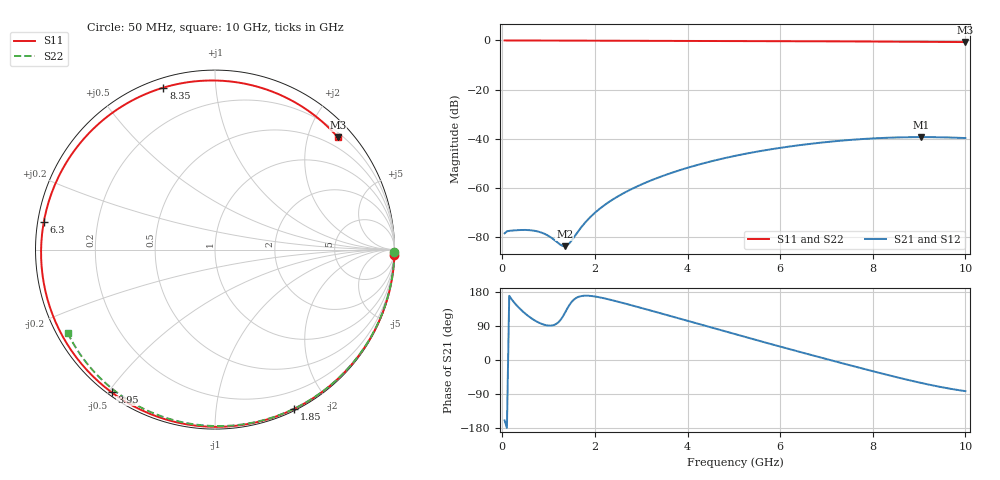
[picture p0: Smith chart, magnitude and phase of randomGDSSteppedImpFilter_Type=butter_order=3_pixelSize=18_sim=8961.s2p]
! freq	dB(S11)	phase(S11)	dB(S12)	phase(S12)
!  dB(S21)	phase(S21)	dB(S22)	phase(S22)
!S-par simulation data
#  GHz  S  DB  R 50
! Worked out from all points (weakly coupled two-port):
!   200 points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, 50 MHz to 10 GHz, reference 50 ohm
!   highest |S21| = -39.33 dB at 9.05 GHz (marker M1); lowest = -83.7 dB at 1.35 GHz (marker M2)
!   lowest |S11| = -0.7 dB at 10 GHz (marker M3), VSWR 26.44, Z = 14.3 + j128 ohm
!   |S11| at or under -10 dB: nowhere
!   |S22| runs from -0.5 to 0.0 dB; largest |S21 - S12| = 0
!   S11 on the Smith chart (normalised r, x): 50 MHz: 0, -64; 1.85 GHz: 0.02, -1.61; 3.95 GHz: 0.01, -0.51; 6.3 GHz: 0.02, +0.08; 8.35 GHz: 0.04, +0.73; 10 GHz: 0.29, +2.55
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0.05  -0.00 -1.8  -78.45 -159.5  -78.45 -159.5  -0.00 -0.9
0.15  -0.00 -5.4  -77.47 169.4  -77.47 169.4  -0.01 -2.6
0.55  -0.02 -19.6  -77.13 117.0  -77.13 117.0  -0.01 -9.5
0.8  -0.03 -28.3  -77.90 98.0  -77.90 98.0  -0.02 -13.8
1.05  -0.04 -36.9  -80.14 90.8  -80.14 90.8  -0.02 -18.1
1.35  -0.06 -47.1  -83.70 123.9  -83.70 123.9  -0.03 -23.2
1.55  -0.07 -53.8  -79.99 159.9  -79.99 159.9  -0.03 -26.6
1.75  -0.07 -60.3  -74.95 169.4  -74.95 169.4  -0.04 -29.9
1.85  -0.08 -63.6  -72.84 169.7  -72.84 169.7  -0.04 -31.6
2.15  -0.09 -73.2  -67.79 164.2  -67.79 164.2  -0.05 -36.6
2.5  -0.10 -84.0  -63.40 153.8  -63.40 153.8  -0.05 -42.3
3.4  -0.14 -110.6  -55.57 123.9  -55.57 123.9  -0.08 -56.8
3.95  -0.16 -125.9  -52.08 105.2  -52.08 105.2  -0.09 -65.4
5.05  -0.21 -155.5  -46.86 67.5  -46.86 67.5  -0.13 -82.1
5.7  -0.26 -172.9  -44.59 45.4  -44.59 45.4  -0.15 -91.5
6.3  -0.30 170.8  -42.90 25.4  -42.90 25.4  -0.18 -100.1
6.7  -0.33 159.5  -41.95 12.3  -41.95 12.3  -0.21 -105.7
7.5  -0.40 135.7  -40.48 -13.7  -40.48 -13.7  -0.26 -116.7
8.35  -0.47 107.7  -39.56 -40.4  -39.56 -40.4  -0.33 -128.2
9.05  -0.54 81.8  -39.33 -60.7  -39.33 -60.7  -0.40 -137.7
9.5  -0.59 63.7  -39.41 -72.0  -39.41 -72.0  -0.45 -143.8
10  -0.66 42.4  -39.72 -82.1  -39.72 -82.1  -0.51 -150.6
